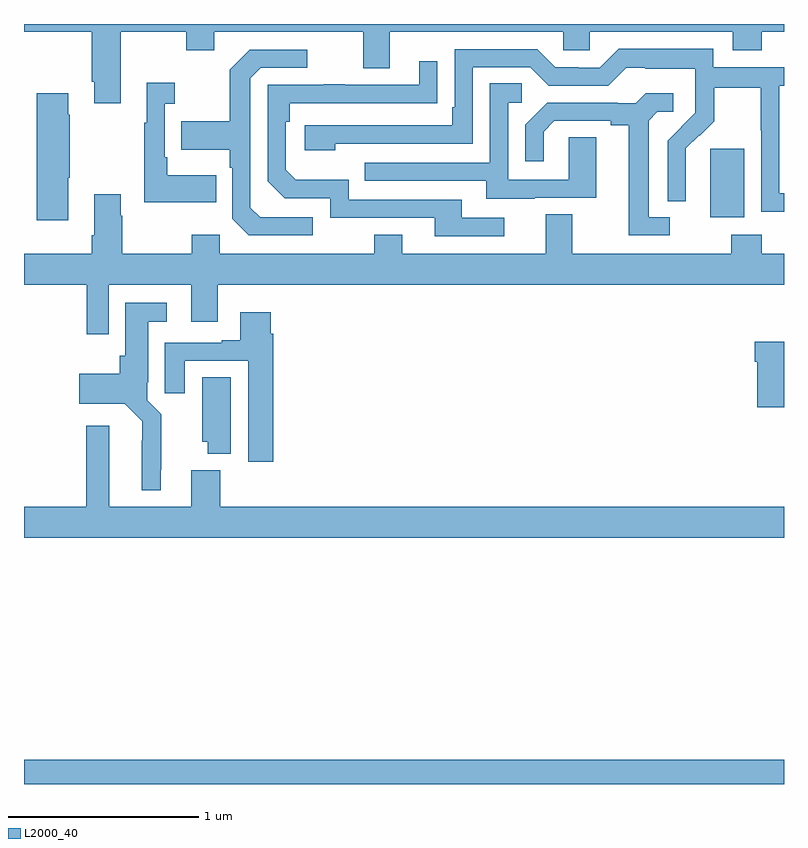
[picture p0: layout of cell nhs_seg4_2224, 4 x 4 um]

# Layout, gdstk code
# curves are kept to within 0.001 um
import gdstk
lib = gdstk.Library(unit=1e-6, precision=1e-09)
def R(c, l, rs):  # rectangles x0, y0, x1, y1
    for r in rs: c.add(gdstk.rectangle(r[:2], r[2:], *l))
def P(c, l, *ps):  # polygons
    for p in ps: c.add(gdstk.Polygon(p, *l))
L2000_40 = (2000, 40)

nhs_seg4_2224 = lib.new_cell('nhs_seg4_2224')
R(nhs_seg4_2224, L2000_40, [(227,752.9,231,753.028), (230.612,755.882,230.791,756.243)])
P(nhs_seg4_2224, L2000_40, [(227.509,756.86),(227.854,756.86),(227.854,756.761),(228.001,756.761),(228.001,756.86),(228.785,756.86),(228.785,756.666),(228.925,756.666),(228.925,756.86),(229.839,756.86),(229.839,756.762),(229.977,756.762),(229.977,756.86),(230.729,756.86),(230.729,756.761),(230.882,756.761),(230.882,756.86),(231,756.86),(231,756.9),(227,756.9),(227,756.86),(227.357,756.86),(227.357,756.595),(227.369,756.595),(227.369,756.483),(227.509,756.483)],
  [(231,756.009),(230.976,756.009),(230.976,756.576),(231,756.576),(231,756.672),(230.628,756.672),(230.628,756.769),(230.131,756.769),(230.031,756.669),(229.916,756.669),(229.916,756.672),(229.797,756.672),(229.701,756.768),(229.266,756.768),(229.266,756.463),(229.253,756.463),(229.253,756.366),(228.477,756.366),(228.477,756.236),(228.638,756.236),(228.638,756.27),(229.362,756.27),(229.362,756.672),(229.665,756.672),(229.761,756.576),(230.076,756.576),(230.169,756.669),(230.269,756.669),(230.269,756.665),(230.532,756.665),(230.532,756.531),(230.534,756.531),(230.534,756.434),(230.388,756.286),(230.388,755.968),(230.484,755.968),(230.483,756.245),(230.553,756.315),(230.556,756.312),(230.633,756.389),(230.633,756.564),(230.878,756.564),(230.878,756.34),(230.88,756.34),(230.88,755.911),(231,755.911)],
  [(228.52,755.883),(228.243,755.883),(228.192,755.934),(228.192,756.615),(228.246,756.669),(228.49,756.669),(228.49,756.765),(228.189,756.765),(228.084,756.659),(228.084,756.387),(227.827,756.387),(227.827,756.239),(228.084,756.239),(228.084,756.143),(228.096,756.143),(228.096,755.874),(228.183,755.787),(228.52,755.787)],
  [(229.528,755.88),(229.303,755.88),(229.303,755.976),(228.708,755.976),(228.708,756.079),(228.431,756.079),(228.378,756.132),(228.378,756.386),(228.398,756.386),(228.398,756.483),(229.175,756.484),(229.175,756.703),(229.079,756.703),(229.079,756.579),(228.689,756.579),(228.689,756.584),(228.577,756.584),(228.577,756.579),(228.282,756.579),(228.282,756.072),(228.372,755.982),(228.612,755.982),(228.612,755.88),(229.163,755.88),(229.163,755.784),(229.528,755.784)],
  [(228.011,756.103),(227.755,756.103),(227.755,756.199),(227.742,756.199),(227.742,756.479),(227.794,756.479),(227.794,756.592),(227.645,756.592),(227.645,756.379),(227.634,756.379),(227.634,755.963),(228.011,755.963)],
  [(229.687,755.985),(230.011,755.985),(230.011,756.305),(229.866,756.305),(229.866,756.081),(229.548,756.081),(229.548,756.486),(229.621,756.486),(229.621,756.587),(229.452,756.587),(229.452,756.171),(228.793,756.171),(228.793,756.075),(229.433,756.075),(229.433,755.981),(229.687,755.981)],
  [(227.233,756.091),(227.241,756.091),(227.241,756.422),(227.233,756.422),(227.233,756.535),(227.066,756.535),(227.066,755.868),(227.233,755.868)],
  [(230.398,755.883),(230.287,755.883),(230.287,756.391),(230.334,756.438),(230.416,756.438),(230.416,756.535),(230.272,756.535),(230.22,756.483),(230.126,756.483),(230.126,756.486),(229.754,756.486),(229.638,756.37),(229.638,756.177),(229.735,756.177),(229.735,756.333),(229.792,756.39),(230.087,756.39),(230.087,756.368),(230.183,756.368),(230.183,755.787),(230.398,755.787)],
  [(227.445,755.528),(227.879,755.528),(227.879,755.334),(228.019,755.334),(228.019,755.528),(231,755.528),(231,755.692),(230.882,755.692),(230.882,755.791),(230.722,755.791),(230.722,755.692),(229.885,755.692),(229.885,755.9),(229.745,755.9),(229.745,755.692),(228.991,755.692),(228.991,755.791),(228.844,755.791),(228.844,755.692),(228.03,755.692),(228.03,755.791),(227.884,755.791),(227.884,755.692),(227.517,755.692),(227.517,755.891),(227.509,755.891),(227.509,756.004),(227.369,756.004),(227.369,755.788),(227.357,755.788),(227.357,755.692),(227,755.692),(227,755.528),(227.329,755.528),(227.329,755.268),(227.445,755.268)],
  [(227.719,754.555),(227.723,754.555),(227.723,754.846),(227.649,754.92),(227.649,755.014),(227.653,755.014),(227.653,755.333),(227.752,755.333),(227.752,755.434),(227.534,755.434),(227.534,755.154),(227.504,755.154),(227.504,755.059),(227.292,755.059),(227.292,754.901),(227.529,754.901),(227.622,754.808),(227.621,754.445),(227.719,754.445)],
  [(228.311,755.27),(228.298,755.27),(228.298,755.383),(228.137,755.383),(228.137,755.236),(228.041,755.236),(228.041,755.223),(227.741,755.223),(227.741,754.956),(227.845,754.956),(227.845,755.127),(228.179,755.127),(228.179,754.596),(228.311,754.596)],
  [(231,755.227),(230.846,755.227),(230.846,755.123),(230.858,755.123),(230.858,754.883),(231,754.883)],
  [(228.088,755.042),(227.939,755.042),(227.939,754.701),(227.966,754.701),(227.966,754.637),(228.088,754.637)],
  [(231,754.36),(228.032,754.36),(228.032,754.552),(227.879,754.552),(227.879,754.36),(227.449,754.36),(227.449,754.786),(227.327,754.786),(227.327,754.36),(227,754.36),(227,754.196),(231,754.196)])

lib.write_gds('nhs_seg4_2224.gds')
